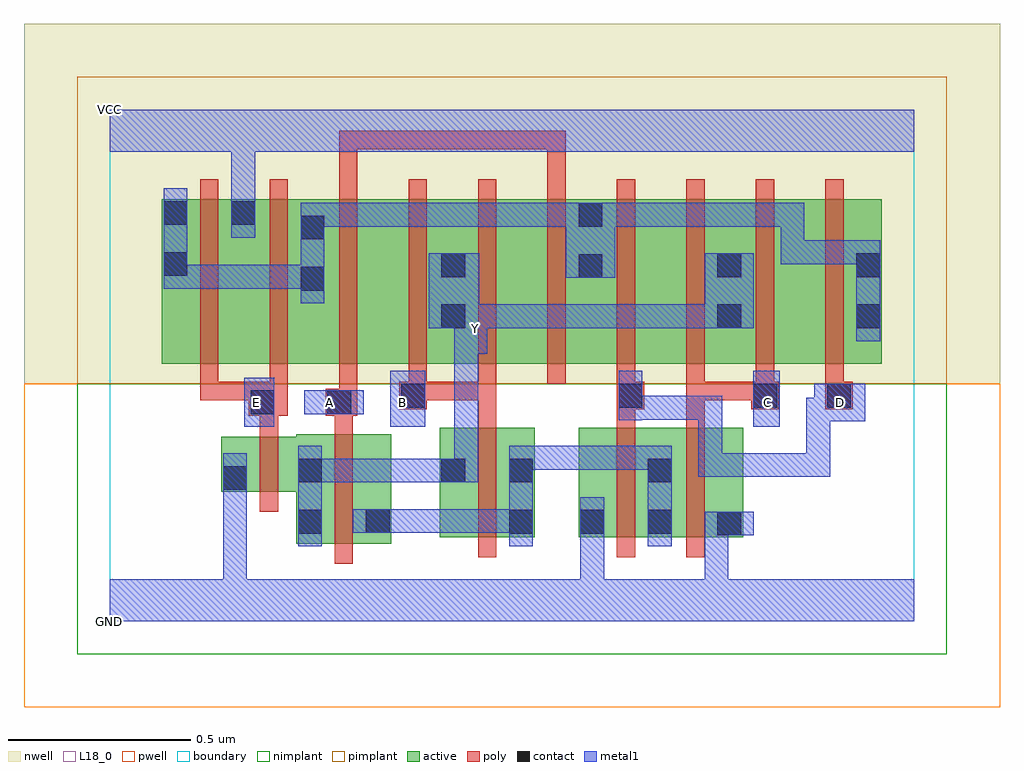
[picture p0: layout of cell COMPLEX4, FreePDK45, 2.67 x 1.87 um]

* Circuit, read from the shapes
.subckt COMPLEX4 A B C D E GND VCC Y
M1 Y E GND VSUBS nfet w=0.15u l=0.05u
M2 n1 A Y VSUBS nfet w=0.3u l=0.05u
M3 n1 B Y VSUBS nfet w=0.3u l=0.05u
M4 n1 D GND VSUBS nfet w=0.3u l=0.05u
M5 GND C n1 VSUBS nfet w=0.3u l=0.05u
M6 VCC E n2 n3 pfet w=0.45u l=0.05u m=2
M7 n4 A n2 n3 pfet w=0.45u l=0.05u
M8 Y B n4 n3 pfet w=0.45u l=0.05u
M9 n5 B Y n3 pfet w=0.45u l=0.05u
M10 n2 A n5 n3 pfet w=0.45u l=0.05u
M11 n6 D n2 n3 pfet w=0.45u l=0.05u
M12 Y C n6 n3 pfet w=0.45u l=0.05u
M13 n7 C Y n3 pfet w=0.45u l=0.05u
M14 n2 D n7 n3 pfet w=0.45u l=0.05u
.ends

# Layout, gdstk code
import gdstk
lib = gdstk.Library(unit=1e-6, precision=1e-09)
def R(c, l, rs):  # rectangles x0, y0, x1, y1
    for r in rs: c.add(gdstk.rectangle(r[:2], r[2:], *l))
def A(c, l, x, y, w, h, nx, ny, dx, dy):  # array of equal rectangles
    R(c, l, [(x+i*dx, y+j*dy, x+i*dx+w, y+j*dy+h) for i in range(nx) for j in range(ny)])
active = (1, 0)
pwell = (2, 0)
nwell = (3, 0)
nimplant = (4, 0)
pimplant = (5, 0)
poly = (9, 0)
contact = (10, 0)
metal1 = (11, 0)
L18_0 = (18, 0)
boundary = (235, 0)

complex4 = lib.new_cell('COMPLEX4')
A(complex4, active, 1.127, 0.705, 0.225, 0.45, 3, 1, 0.38, 0)
R(complex4, active, [(0.51,0.212,0.77,0.512), (0.51,0.212,0.585,0.505), (0.695,0.212,0.77,0.512), (0.902,0.23,1.162,0.53), (1.282,0.23,1.357,0.53), (1.282,0.23,1.542,0.53), (1.467,0.23,1.542,0.53), (1.467,0.23,1.732,0.53), (1.657,0.23,1.732,0.53), (1.087,0.235,1.162,0.53), (0.902,0.295,0.977,0.53), (0.305,0.355,0.585,0.505), (0.305,0.355,0.38,0.505), (0.142,0.705,0.217,1.155), (0.142,0.705,0.402,1.155), (0.327,0.705,0.592,1.155), (0.517,0.705,0.747,1.155), (0.747,0.705,0.977,1.155), (0.902,0.705,1.127,1.155), (1.277,0.705,1.507,1.155), (1.657,0.705,1.887,1.155), (1.657,0.705,1.732,1.07), (2.037,0.705,2.112,1.155), (0.902,0.732,0.977,1.07), (0.327,0.857,0.402,1.155), (0.517,0.857,0.592,1.155), (1.277,0.857,1.352,1.155)])
R(complex4, pwell, [(-0.235,-0.235,2.435,0.65)])
R(complex4, nwell, [(-0.235,0.65,2.435,1.635)])
R(complex4, nimplant, [(-0.09,-0.09,2.29,0.65)])
R(complex4, pimplant, [(-0.09,0.65,2.29,1.49)])
A(complex4, poly, 1.387, 0.605, 0.05, 0.095, 4, 1, 0.19, 0)
A(complex4, poly, 0.247, 0.65, 0.05, 0.56, 10, 1, 0.19, 0)
R(complex4, poly, [(0.615,0.157,0.665,0.567), (1.007,0.175,1.057,0.585), (1.387,0.175,1.437,0.585), (1.577,0.175,1.627,0.585), (0.41,0.3,0.46,0.56), (0.41,0.51,0.46,0.612), (0.615,0.517,0.665,0.612), (1.007,0.535,1.057,0.655), (1.387,0.535,1.437,0.63), (1.577,0.535,1.627,0.655), (0.38,0.562,0.487,0.655), (0.59,0.562,0.677,0.637), (0.792,0.58,0.867,0.655), (1.387,0.58,1.462,0.655), (1.755,0.58,1.83,0.655), (1.957,0.58,2.032,0.655), (0.627,0.587,0.677,0.7), (0.247,0.605,0.297,0.7), (0.247,0.605,0.297,0.655), (0.247,0.605,0.297,0.655), (0.247,0.605,0.297,0.655), (0.247,0.605,0.43,0.655), (0.437,0.605,0.487,0.7), (0.817,0.605,0.867,0.7), (0.817,0.605,1.057,0.655), (1.007,0.605,1.057,0.7), (1.007,0.605,1.057,0.655), (1.007,0.605,1.057,0.655), (1.007,0.605,1.057,0.655), (1.577,0.605,1.627,0.655), (1.577,0.605,1.805,0.655), (1.755,0.605,1.805,0.655), (1.755,0.605,1.805,0.655), (0.627,1.16,0.677,1.342), (1.197,1.16,1.247,1.342), (0.627,1.292,0.677,1.342), (0.627,1.292,0.677,1.342), (0.627,1.292,0.677,1.342), (0.627,1.292,0.925,1.342), (0.875,1.292,0.925,1.342), (0.875,1.292,1.06,1.342), (1.01,1.292,1.06,1.342), (1.01,1.292,1.06,1.342), (1.01,1.292,1.06,1.342), (1.01,1.292,1.247,1.342), (1.197,1.292,1.247,1.342), (1.197,1.292,1.247,1.342), (1.197,1.292,1.247,1.342)])
R(complex4, contact, [(1.662,0.235,1.727,0.3), (0.515,0.24,0.58,0.305), (1.092,0.24,1.157,0.305), (1.287,0.24,1.352,0.305), (1.472,0.24,1.537,0.305), (0.7,0.242,0.765,0.307), (0.31,0.36,0.375,0.425), (0.515,0.38,0.58,0.445), (0.907,0.38,0.972,0.445), (1.092,0.38,1.157,0.445), (1.472,0.38,1.537,0.445), (0.385,0.567,0.45,0.632), (0.595,0.567,0.66,0.632), (0.797,0.585,0.862,0.65), (1.392,0.585,1.457,0.65), (1.76,0.585,1.825,0.65), (1.962,0.585,2.027,0.65), (0.907,0.802,0.972,0.867), (1.662,0.802,1.727,0.867), (2.042,0.802,2.107,0.867), (0.522,0.905,0.587,0.97), (1.282,0.94,1.347,1.005), (0.907,0.942,0.972,1.007), (1.662,0.942,1.727,1.007), (2.042,0.942,2.107,1.007), (0.147,0.945,0.212,1.01), (0.522,1.045,0.587,1.11), (1.282,1.08,1.347,1.145), (0.147,1.085,0.212,1.15), (0.332,1.085,0.397,1.15)])
A(complex4, metal1, 1.092, 0.415, 0.065, 0.065, 3, 1, 0.15, 0)
R(complex4, metal1, [(0,0,2.2,0.115), (0.31,0.05,0.375,0.115), (0.31,0.05,0.375,0.115), (0.31,0.05,0.375,0.115), (0.31,0.05,0.375,0.115), (0.31,0.05,0.375,0.39), (1.287,0.05,1.352,0.115), (1.287,0.05,1.352,0.115), (1.287,0.05,1.352,0.27), (1.627,0.05,1.692,0.3), (0.515,0.205,0.58,0.48), (1.092,0.205,1.157,0.48), (1.287,0.205,1.352,0.34), (1.472,0.205,1.537,0.48), (1.627,0.235,1.692,0.3), (1.627,0.235,1.692,0.3), (1.627,0.235,1.762,0.3), (0.665,0.242,0.8,0.307), (0.735,0.242,0.8,0.307), (0.735,0.242,0.8,0.307), (0.735,0.242,1.01,0.307), (0.945,0.242,1.01,0.307), (0.945,0.242,1.01,0.307), (0.945,0.242,1.01,0.307), (0.945,0.242,1.157,0.307), (0.31,0.325,0.375,0.46), (0.515,0.38,0.587,0.445), (0.522,0.38,0.587,0.445), (0.522,0.38,0.8,0.445), (0.735,0.38,0.8,0.445), (0.735,0.38,0.872,0.445), (0.807,0.38,0.872,0.445), (0.807,0.38,0.937,0.445), (0.872,0.38,1.007,0.445), (0.942,0.38,1.007,0.797), (1.61,0.395,1.675,0.46), (1.61,0.395,1.825,0.46), (1.61,0.395,1.675,0.617), (1.76,0.395,1.825,0.46), (1.76,0.395,1.97,0.46), (1.905,0.395,1.97,0.46), (1.905,0.395,1.97,0.612), (1.092,0.415,1.157,0.48), (1.092,0.415,1.157,0.48), (1.092,0.415,1.157,0.48), (1.092,0.415,1.307,0.48), (1.242,0.415,1.457,0.48), (1.392,0.415,1.537,0.48), (0.367,0.532,0.45,0.667), (0.767,0.532,0.862,0.685), (1.76,0.532,1.832,0.685), (1.905,0.547,1.97,0.612), (1.905,0.547,1.992,0.612), (1.927,0.547,2.067,0.65), (1.392,0.55,1.457,0.685), (1.392,0.552,1.52,0.617), (1.455,0.552,1.52,0.617), (1.455,0.552,1.64,0.617), (1.575,0.552,1.64,0.617), (1.575,0.552,1.675,0.617), (1.61,0.552,1.675,0.617), (0.532,0.567,0.695,0.632), (0.942,0.732,1.032,0.867), (2.042,0.767,2.107,1.042), (0.872,0.802,1.01,1.007), (0.945,0.802,1.01,0.867), (0.945,0.802,1.01,0.867), (0.945,0.802,1.01,0.867), (0.945,0.802,1.17,0.867), (1.105,0.802,1.17,0.867), (1.105,0.802,1.17,0.867), (1.105,0.802,1.17,0.867), (1.105,0.802,1.327,0.867), (1.262,0.802,1.327,0.867), (1.262,0.802,1.457,0.867), (1.392,0.802,1.457,0.867), (1.392,0.802,1.52,0.867), (1.455,0.802,1.52,0.867), (1.455,0.802,1.595,0.867), (1.53,0.802,1.595,0.867), (1.53,0.802,1.692,0.867), (1.627,0.802,1.762,1.007), (0.522,0.87,0.587,1.145), (0.147,0.91,0.212,0.975), (0.147,0.91,0.212,0.975), (0.147,0.91,0.212,1.185), (0.147,0.91,0.442,0.975), (0.377,0.91,0.442,0.975), (0.377,0.91,0.442,0.975), (0.377,0.91,0.442,0.975), (0.377,0.91,0.587,0.975), (1.247,0.94,1.382,1.145), (1.835,0.977,1.9,1.042), (1.835,0.977,2.107,1.042), (1.835,0.977,1.9,1.145), (2.042,0.977,2.107,1.042), (2.042,0.977,2.107,1.042), (0.332,1.05,0.397,1.185), (0.522,1.08,0.587,1.145), (0.522,1.08,0.587,1.145), (0.522,1.08,0.8,1.145), (0.735,1.08,0.8,1.145), (0.735,1.08,0.8,1.145), (0.735,1.08,0.8,1.145), (0.735,1.08,0.8,1.145), (0.735,1.08,0.8,1.145), (0.735,1.08,1.01,1.145), (0.945,1.08,1.01,1.145), (0.945,1.08,1.01,1.145), (0.945,1.08,1.01,1.145), (0.945,1.08,1.17,1.145), (1.105,1.08,1.17,1.145), (1.105,1.08,1.312,1.145), (1.247,1.08,1.312,1.145), (1.247,1.08,1.312,1.145), (1.317,1.08,1.45,1.145), (1.385,1.08,1.45,1.145), (1.385,1.08,1.52,1.145), (1.455,1.08,1.52,1.145), (1.455,1.08,1.657,1.145), (1.592,1.08,1.657,1.145), (1.592,1.08,1.657,1.145), (1.592,1.08,1.657,1.145), (1.592,1.08,1.825,1.145), (1.76,1.08,1.825,1.145), (1.76,1.08,1.9,1.145), (1.835,1.08,1.9,1.145), (0.332,1.12,0.397,1.35), (0,1.285,2.2,1.4), (0.332,1.285,0.397,1.35), (0.332,1.285,0.397,1.35)])
A(complex4, L18_0, 0.367, 0.567, 0.065, 0.065, 3, 1, 0.2, 0)
R(complex4, L18_0, [(0,0,2.2,0.115), (0.31,0.05,0.375,0.115), (0.31,0.05,0.375,0.115), (0.31,0.05,0.375,0.115), (0.31,0.05,0.375,0.115), (0.31,0.05,0.375,0.39), (1.287,0.05,1.352,0.115), (1.287,0.05,1.352,0.115), (1.287,0.05,1.352,0.27), (1.627,0.05,1.692,0.3), (0.515,0.205,0.58,0.48), (1.287,0.205,1.352,0.34), (1.627,0.235,1.692,0.3), (1.627,0.235,1.692,0.3), (1.627,0.235,1.762,0.3), (0.31,0.325,0.375,0.46), (0.515,0.38,0.587,0.445), (0.522,0.38,0.587,0.445), (0.522,0.38,0.8,0.445), (0.735,0.38,0.8,0.445), (0.735,0.38,0.872,0.445), (0.807,0.38,0.872,0.445), (0.807,0.38,0.937,0.445), (0.872,0.38,1.007,0.445), (0.942,0.38,1.007,0.797), (1.61,0.395,1.675,0.46), (1.61,0.395,1.675,0.617), (1.61,0.395,1.825,0.46), (1.76,0.395,1.825,0.46), (1.76,0.395,1.97,0.46), (1.905,0.395,1.97,0.46), (1.905,0.395,1.97,0.612), (0.367,0.532,0.45,0.667), (0.767,0.532,0.862,0.685), (1.76,0.532,1.832,0.685), (1.905,0.547,1.97,0.612), (1.905,0.547,1.992,0.612), (1.927,0.547,2.067,0.65), (1.392,0.55,1.457,0.685), (1.392,0.552,1.52,0.617), (1.455,0.552,1.52,0.617), (1.455,0.552,1.64,0.617), (1.575,0.552,1.64,0.617), (1.575,0.552,1.675,0.617), (1.61,0.552,1.675,0.617), (0.532,0.567,0.695,0.632), (1.767,0.567,1.832,0.632), (1.967,0.567,2.032,0.632), (0.942,0.732,1.032,0.867), (0.967,0.767,1.032,0.832), (0.872,0.802,1.01,1.007), (0.945,0.802,1.01,0.867), (0.945,0.802,1.01,0.867), (0.945,0.802,1.01,0.867), (0.945,0.802,1.17,0.867), (1.105,0.802,1.17,0.867), (1.105,0.802,1.17,0.867), (1.105,0.802,1.17,0.867), (1.105,0.802,1.327,0.867), (1.262,0.802,1.327,0.867), (1.262,0.802,1.457,0.867), (1.392,0.802,1.457,0.867), (1.392,0.802,1.52,0.867), (1.455,0.802,1.52,0.867), (1.455,0.802,1.595,0.867), (1.53,0.802,1.595,0.867), (1.53,0.802,1.692,0.867), (1.627,0.802,1.762,1.007), (0.332,1.05,0.397,1.185), (0.332,1.12,0.397,1.35), (0,1.285,2.2,1.4), (0.332,1.285,0.397,1.35), (0.332,1.285,0.397,1.35)])
R(complex4, boundary, [(0,0,2.2,1.4)])
complex4.add(gdstk.Label('A', (0.6,0.6), layer=11, texttype=0))
complex4.add(gdstk.Label('B', (0.8,0.6), layer=11, texttype=0))
complex4.add(gdstk.Label('C', (1.8,0.6), layer=11, texttype=0))
complex4.add(gdstk.Label('D', (2,0.6), layer=11, texttype=0))
complex4.add(gdstk.Label('E', (0.4,0.6), layer=11, texttype=0))
complex4.add(gdstk.Label('Y', (1,0.8), layer=11, texttype=0))
complex4.add(gdstk.Label('VCC', (0,1.4), layer=11, texttype=0))
complex4.add(gdstk.Label('GND', (0,0), layer=11, texttype=0))

lib.write_gds('COMPLEX4.gds')
